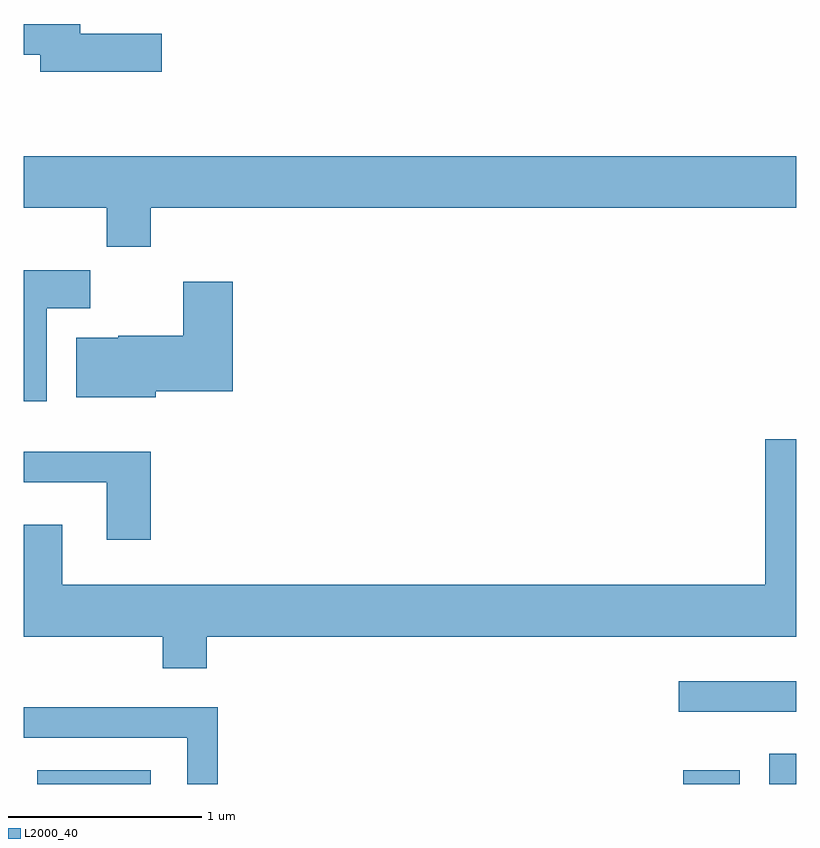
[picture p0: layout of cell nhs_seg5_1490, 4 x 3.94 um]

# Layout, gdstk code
import gdstk
lib = gdstk.Library(unit=1e-6, precision=1e-09)
def R(c, l, rs):  # rectangles x0, y0, x1, y1
    for r in rs: c.add(gdstk.rectangle(r[:2], r[2:], *l))
def P(c, l, *ps):  # polygons
    for p in ps: c.add(gdstk.Polygon(p, *l))
L2000_40 = (2000, 40)

nhs_seg5_1490 = lib.new_cell('nhs_seg5_1490')
R(nhs_seg5_1490, L2000_40, [(229.681,1416.072,230.269,1416.144), (233.026,1416.072,233.319,1416.144), (233.471,1416.072,233.611,1416.229), (233.003,1416.446,233.611,1416.604)])
P(nhs_seg5_1490, L2000_40, [(230.324,1419.959),(229.904,1419.959),(229.904,1420.009),(229.611,1420.009),(229.611,1419.851),(229.696,1419.851),(229.696,1419.761),(230.324,1419.761)],
  [(230.269,1419.056),(233.611,1419.056),(233.611,1419.324),(229.611,1419.324),(229.611,1419.056),(230.041,1419.056),(230.041,1418.856),(230.269,1418.856)],
  [(229.729,1418.536),(229.954,1418.536),(229.954,1418.734),(229.611,1418.734),(229.611,1418.056),(229.729,1418.056)],
  [(230.294,1418.106),(230.694,1418.106),(230.694,1418.674),(230.436,1418.674),(230.436,1418.394),(230.1,1418.394),(230.1,1418.384),(229.881,1418.384),(229.881,1418.076),(230.294,1418.076)],
  [(230.559,1416.836),(233.611,1416.836),(233.611,1417.859),(233.451,1417.859),(233.451,1417.104),(229.809,1417.104),(229.809,1417.414),(229.611,1417.414),(229.611,1416.836),(230.331,1416.836),(230.331,1416.671),(230.559,1416.671)],
  [(230.269,1417.794),(229.611,1417.794),(229.611,1417.636),(230.041,1417.636),(230.041,1417.336),(230.269,1417.336)],
  [(230.614,1416.469),(229.611,1416.469),(229.611,1416.311),(230.456,1416.311),(230.456,1416.072),(230.614,1416.072)])

lib.write_gds('nhs_seg5_1490.gds')
